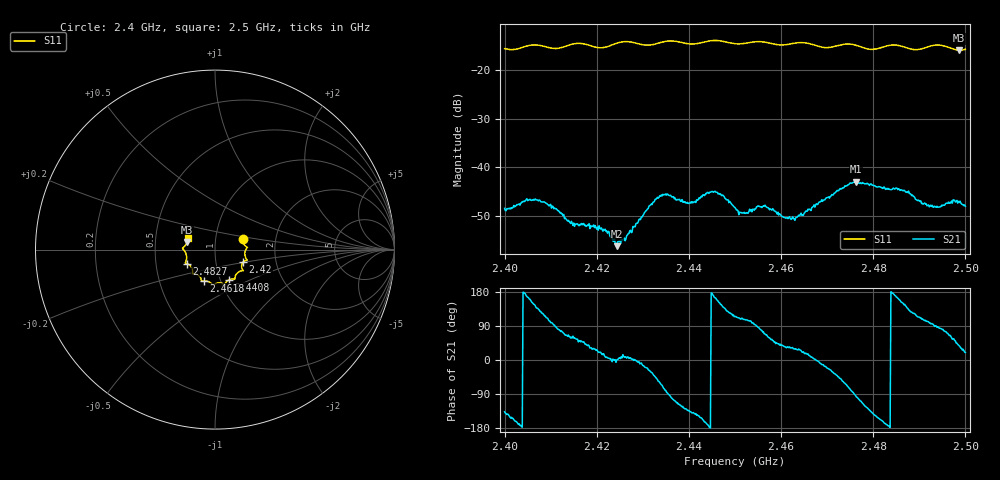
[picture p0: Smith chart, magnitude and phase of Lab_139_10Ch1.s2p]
# Hz S RI R 50
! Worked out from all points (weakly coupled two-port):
!   601 points, 2.4 GHz to 2.5 GHz, reference 50 ohm
!   highest |S21| = -42.96 dB at 2.4763 GHz (marker M1); lowest = -56.2 dB at 2.4243 GHz (marker M2)
!   lowest |S11| = -15.9 dB at 2.4987 GHz (marker M3), VSWR 1.38, Z = 36.5 + j3.23 ohm
!   |S11| at or under -10 dB: start of sweep to end of sweep
!   S12 and S22 are empty: the file has one direction only
!   S11 on the Smith chart (normalised r, x): 2.4 GHz: 1.35, +0.17; 2.42 GHz: 1.36, -0.19; 2.4408 GHz: 1.10, -0.38; 2.4618 GHz: 0.83, -0.30; 2.4827 GHz: 0.72, -0.12; 2.5 GHz: 0.73, +0.09
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2.4e9  0.1547 0.0614  -0.00275 -0.00259  0 0  0 0
2.407167e9  0.1809 0.0119  -0.00335 0.00316  0 0  0 0
2.414667e9  0.1769 -0.0548  0.00141 0.00226  0 0  0 0
2.416667e9  0.1787 -0.0588  0.00169 0.00203  0 0  0 0
2.42e9  0.1568 -0.0689  0.00205 0.00106  0 0  0 0
2.424333e9  0.1534 -0.1107  0.00154 -4.74e-06  0 0  0 0
2.426167e9  0.158 -0.1171  0.00173 0.000268  0 0  0 0
2.433333e9  0.1116 -0.1528  0.00271 -0.00398  0 0  0 0
2.440833e9  0.0779 -0.1686  -0.00334 -0.00288  0 0  0 0
2.4455e9  0.053 -0.1948  -0.00545 0.0014  0 0  0 0
2.45e9  0.0269 -0.1851  -0.00161 0.00349  0 0  0 0
2.452333e9  0.00333 -0.1892  -0.000914 0.00324  0 0  0 0
2.4565e9  -0.0153 -0.1934  0.00147 0.00381  0 0  0 0
2.461833e9  -0.0613 -0.1751  0.00255 0.00176  0 0  0 0
2.466667e9  -0.0761 -0.1682  0.00381 0.000524  0 0  0 0
2.476333e9  -0.1248 -0.1294  -0.000911 -0.00705  0 0  0 0
2.482667e9  -0.1581 -0.078  -0.0058 -0.00123  0 0  0 0
2.483333e9  -0.162 -0.0769  -0.00601 -0.000648  0 0  0 0
2.487167e9  -0.1598 -0.059  -0.00429 0.00347  0 0  0 0
2.492667e9  -0.1783 0.0031  -0.000436 0.00393  0 0  0 0
2.498667e9  -0.1544 0.0431  0.00346 0.00262  0 0  0 0
2.5e9  -0.1512 0.0629  0.00374 0.00133  0 0  0 0
